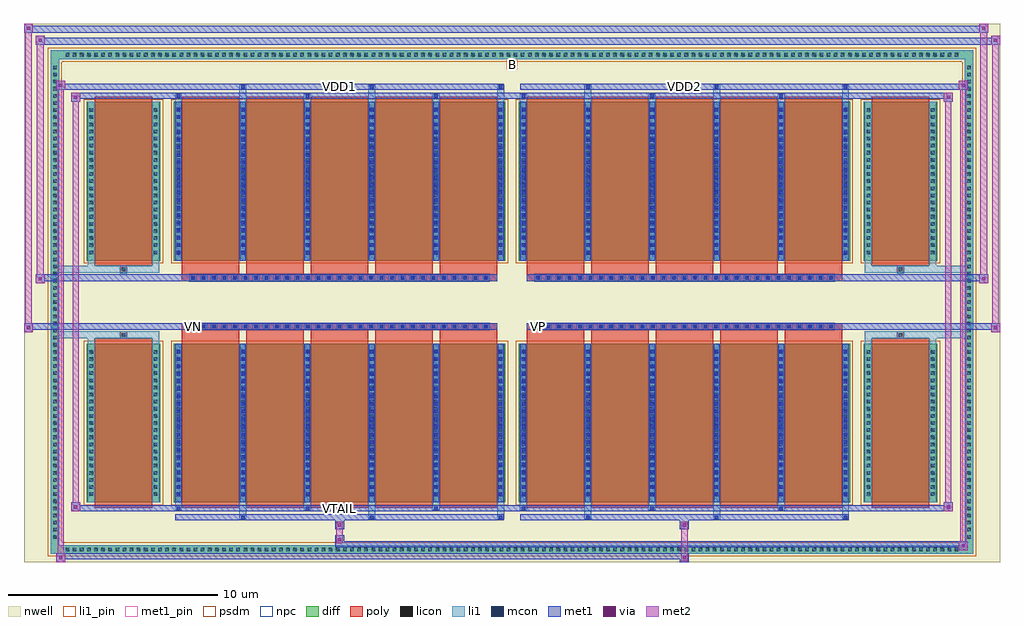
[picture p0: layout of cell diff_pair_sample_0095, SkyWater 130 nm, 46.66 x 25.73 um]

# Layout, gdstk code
import gdstk
lib = gdstk.Library(unit=1e-6, precision=5e-09)
def R(c, l, rs):  # rectangles x0, y0, x1, y1
    for r in rs: c.add(gdstk.rectangle(r[:2], r[2:], *l))
def A(c, l, x, y, w, h, nx, ny, dx, dy):  # array of equal rectangles
    R(c, l, [(x+i*dx, y+j*dy, x+i*dx+w, y+j*dy+h) for i in range(nx) for j in range(ny)])
def P(c, l, *ps):  # polygons
    for p in ps: c.add(gdstk.Polygon(p, *l))
nwell = (64, 20)
diff = (65, 20)
poly = (66, 20)
licon = (66, 44)
li1_pin = (67, 16)
li1 = (67, 20)
mcon = (67, 44)
met1_pin = (68, 16)
met1 = (68, 20)
via = (68, 44)
met2 = (69, 20)
psdm = (94, 20)
npc = (95, 20)

diff_pair_sample_0095 = lib.new_cell('diff_pair_sample_0095')
R(diff_pair_sample_0095, nwell, [(-23.33,-12.43,23.33,13.3), (-20.65,-10.62,-0.01,-0.8), (0.01,-10.62,20.65,-0.8), (-20.65,0.8,-0.01,10.62), (0.01,0.8,20.65,10.62)])
A(diff_pair_sample_0095, diff, -21.455, -12.03, 0.41, 0.41, 126, 2, 0.34, 23.65)
A(diff_pair_sample_0095, diff, -22.06, -11.425, 0.41, 0.41, 1, 67, 0, 0.34)
A(diff_pair_sample_0095, diff, 21.65, -11.425, 0.41, 0.41, 1, 67, 0, 0.34)
R(diff_pair_sample_0095, diff, [(-21.455,-12.03,21.455,-11.62), (-22.06,-11.425,-21.65,11.425), (21.65,-11.425,22.06,11.425), (-20.34,-9.575,-16.81,-1.985), (-16.17,-9.575,-0.32,-1.985), (0.32,-9.575,16.17,-1.985), (16.81,-9.575,20.34,-1.985), (-20.34,1.985,-16.81,9.575), (-16.17,1.985,-0.32,9.575), (0.32,1.985,16.17,9.575), (16.81,1.985,20.34,9.575), (-21.455,11.62,21.455,12.03)])
P(diff_pair_sample_0095, diff, [(22.06,12.03),(-22.06,12.03),(-22.06,-11.62),(-21.65,-11.62),(-21.65,11.62),(21.65,11.62),(21.65,-11.62),(-21.65,-11.62),(-22.06,-11.62),(-22.06,-12.03),(22.06,-12.03)])
A(diff_pair_sample_0095, poly, -15.78, -9.825, 2.75, 8.09, 5, 2, 3.08, 11.56)
A(diff_pair_sample_0095, poly, 0.71, -9.825, 2.75, 8.09, 5, 2, 3.08, 11.56)
A(diff_pair_sample_0095, poly, -15.78, -1.735, 2.75, 0.405, 5, 2, 3.08, 3.065)
A(diff_pair_sample_0095, poly, 0.71, -1.735, 2.75, 0.405, 5, 2, 3.08, 3.065)
A(diff_pair_sample_0095, poly, -15.41, -1.33, 0.33, 0.33, 29, 2, 0.5, 2.33)
A(diff_pair_sample_0095, poly, 1.08, -1.33, 0.33, 0.33, 29, 2, 0.5, 2.33)
R(diff_pair_sample_0095, poly, [(-19.95,-9.825,-17.2,-1.735), (17.2,-9.825,19.95,-1.735), (-18.74,-1.735,-18.41,-1.405), (-18.74,-1.735,-18.41,-1.405), (18.41,-1.735,18.74,-1.405), (18.41,-1.735,18.74,-1.405), (-15.78,-1.33,-0.71,-1), (0.71,-1.33,15.78,-1), (-15.78,1,-0.71,1.33), (0.71,1,15.78,1.33), (-18.74,1.405,-18.41,1.735), (-18.74,1.405,-18.41,1.735), (18.41,1.405,18.74,1.735), (18.41,1.405,18.74,1.735), (-19.95,1.735,-17.2,9.825), (17.2,1.735,19.95,9.825)])
A(diff_pair_sample_0095, licon, -21.335, -11.91, 0.17, 0.17, 126, 2, 0.34, 23.65)
A(diff_pair_sample_0095, licon, -21.94, -11.305, 0.17, 0.17, 1, 67, 0, 0.34)
A(diff_pair_sample_0095, licon, 21.77, -11.305, 0.17, 0.17, 1, 67, 0, 0.34)
A(diff_pair_sample_0095, licon, -20.2, -9.265, 0.17, 0.17, 1, 21, 0, 0.34)
A(diff_pair_sample_0095, licon, -17.12, -9.265, 0.17, 0.17, 1, 21, 0, 0.34)
A(diff_pair_sample_0095, licon, -16.03, -9.265, 0.17, 0.17, 6, 21, 3.08, 0.34)
A(diff_pair_sample_0095, licon, 0.46, -9.265, 0.17, 0.17, 6, 21, 3.08, 0.34)
A(diff_pair_sample_0095, licon, 16.95, -9.265, 0.17, 0.17, 1, 21, 0, 0.34)
A(diff_pair_sample_0095, licon, 20.03, -9.265, 0.17, 0.17, 1, 21, 0, 0.34)
A(diff_pair_sample_0095, licon, -15.33, -1.25, 0.17, 0.17, 29, 2, 0.5, 2.33)
A(diff_pair_sample_0095, licon, 1.16, -1.25, 0.17, 0.17, 29, 2, 0.5, 2.33)
A(diff_pair_sample_0095, licon, -20.2, 2.295, 0.17, 0.17, 1, 21, 0, 0.34)
A(diff_pair_sample_0095, licon, -17.12, 2.295, 0.17, 0.17, 1, 21, 0, 0.34)
A(diff_pair_sample_0095, licon, -16.03, 2.295, 0.17, 0.17, 6, 21, 3.08, 0.34)
A(diff_pair_sample_0095, licon, 0.46, 2.295, 0.17, 0.17, 6, 21, 3.08, 0.34)
A(diff_pair_sample_0095, licon, 16.95, 2.295, 0.17, 0.17, 1, 21, 0, 0.34)
A(diff_pair_sample_0095, licon, 20.03, 2.295, 0.17, 0.17, 1, 21, 0, 0.34)
R(diff_pair_sample_0095, licon, [(-18.66,-1.655,-18.49,-1.485), (18.49,-1.655,18.66,-1.485), (-18.66,1.485,-18.49,1.655), (18.49,1.485,18.66,1.655)])
R(diff_pair_sample_0095, li1_pin, [(-0.25,11.12,0.25,11.62)])
A(diff_pair_sample_0095, li1, -21.415, -11.99, 0.33, 0.33, 126, 2, 0.34, 23.65)
A(diff_pair_sample_0095, li1, -22.02, -11.385, 0.33, 0.33, 1, 67, 0, 0.34)
A(diff_pair_sample_0095, li1, 21.69, -11.385, 0.33, 0.33, 1, 67, 0, 0.34)
A(diff_pair_sample_0095, li1, -13.03, -10.38, 0.33, 0.805, 3, 2, 6.16, 19.955)
A(diff_pair_sample_0095, li1, -12.95, -10.38, 0.17, 0.17, 3, 2, 6.16, 20.59)
A(diff_pair_sample_0095, li1, 3.46, -10.38, 0.33, 0.805, 3, 2, 6.16, 19.955)
A(diff_pair_sample_0095, li1, 3.54, -10.38, 0.17, 0.17, 3, 2, 6.16, 20.59)
A(diff_pair_sample_0095, li1, -16.11, -9.95, 0.33, 0.375, 3, 2, 6.16, 19.525)
A(diff_pair_sample_0095, li1, -16.03, -9.95, 0.17, 0.17, 3, 2, 6.16, 19.73)
A(diff_pair_sample_0095, li1, 0.38, -9.95, 0.33, 0.375, 3, 2, 6.16, 19.525)
A(diff_pair_sample_0095, li1, 0.46, -9.95, 0.17, 0.17, 3, 2, 6.16, 19.73)
A(diff_pair_sample_0095, li1, -16.11, -9.575, 0.33, 7.59, 6, 2, 3.08, 11.56)
A(diff_pair_sample_0095, li1, 0.38, -9.575, 0.33, 7.59, 6, 2, 3.08, 11.56)
A(diff_pair_sample_0095, li1, -20.28, -9.345, 0.33, 0.33, 1, 21, 0, 0.34)
A(diff_pair_sample_0095, li1, -17.2, -9.345, 0.33, 0.33, 1, 21, 0, 0.34)
A(diff_pair_sample_0095, li1, -16.11, -9.345, 0.33, 0.33, 6, 21, 3.08, 0.34)
A(diff_pair_sample_0095, li1, 0.38, -9.345, 0.33, 0.33, 6, 21, 3.08, 0.34)
A(diff_pair_sample_0095, li1, 16.87, -9.345, 0.33, 0.33, 1, 21, 0, 0.34)
A(diff_pair_sample_0095, li1, 19.95, -9.345, 0.33, 0.33, 1, 21, 0, 0.34)
A(diff_pair_sample_0095, li1, -16.03, -9.285, 0.17, 0.17, 6, 20, 3.08, 0.36)
A(diff_pair_sample_0095, li1, -16.03, -9.285, 0.17, 7.01, 6, 2, 3.08, 11.56)
A(diff_pair_sample_0095, li1, 0.46, -9.285, 0.17, 0.17, 6, 20, 3.08, 0.36)
A(diff_pair_sample_0095, li1, 0.46, -9.285, 0.17, 7.01, 6, 2, 3.08, 11.56)
A(diff_pair_sample_0095, li1, -15.41, -1.33, 0.33, 0.33, 29, 2, 0.5, 2.33)
A(diff_pair_sample_0095, li1, 1.08, -1.33, 0.33, 0.33, 29, 2, 0.5, 2.33)
A(diff_pair_sample_0095, li1, -20.28, 2.215, 0.33, 0.33, 1, 21, 0, 0.34)
A(diff_pair_sample_0095, li1, -17.2, 2.215, 0.33, 0.33, 1, 21, 0, 0.34)
A(diff_pair_sample_0095, li1, -16.11, 2.215, 0.33, 0.33, 6, 21, 3.08, 0.34)
A(diff_pair_sample_0095, li1, 0.38, 2.215, 0.33, 0.33, 6, 21, 3.08, 0.34)
A(diff_pair_sample_0095, li1, 16.87, 2.215, 0.33, 0.33, 1, 21, 0, 0.34)
A(diff_pair_sample_0095, li1, 19.95, 2.215, 0.33, 0.33, 1, 21, 0, 0.34)
A(diff_pair_sample_0095, li1, -16.03, 2.275, 0.17, 0.17, 6, 20, 3.08, 0.36)
A(diff_pair_sample_0095, li1, 0.46, 2.275, 0.17, 0.17, 6, 20, 3.08, 0.36)
R(diff_pair_sample_0095, li1, [(-22.06,-12.03,-21.65,-11.62), (-22.06,-12.03,-21.65,-11.62), (-21.65,-12.03,21.65,-11.62), (21.65,-12.03,22.06,-11.62), (21.65,-12.03,22.06,-11.62), (-22.06,-11.62,-21.65,11.62), (21.65,-11.62,22.06,11.62), (-20.28,-9.575,-19.95,-1.985), (-17.2,-9.575,-16.87,-1.985), (16.87,-9.575,17.2,-1.985), (19.95,-9.575,20.28,-1.985), (-20.28,-1.985,-19.95,-1.405), (-17.2,-1.985,-16.87,-1.405), (16.87,-1.985,17.2,-1.405), (19.95,-1.985,20.28,-1.405), (-22.06,-1.735,-18.74,-1.405), (-20.28,-1.735,-18.74,-1.405), (-18.74,-1.735,-18.41,-1.405), (-18.41,-1.735,-16.87,-1.405), (16.87,-1.735,18.41,-1.405), (18.41,-1.735,18.74,-1.405), (18.41,-1.735,22.06,-1.405), (18.74,-1.735,20.28,-1.405), (-22.06,1.405,-18.74,1.735), (-20.28,1.405,-18.74,1.735), (-20.28,1.405,-19.95,1.985), (-18.74,1.405,-18.41,1.735), (-18.41,1.405,-16.87,1.735), (-17.2,1.405,-16.87,1.985), (16.87,1.405,18.41,1.735), (16.87,1.405,17.2,1.985), (18.41,1.405,18.74,1.735), (18.41,1.405,22.06,1.735), (18.74,1.405,20.28,1.735), (19.95,1.405,20.28,1.985), (-20.28,1.985,-19.95,9.575), (-17.2,1.985,-16.87,9.575), (16.87,1.985,17.2,9.575), (19.95,1.985,20.28,9.575), (-22.06,11.62,-21.65,12.03), (-22.06,11.62,-21.65,12.03), (-21.65,11.62,21.65,12.03), (21.65,11.62,22.06,12.03), (21.65,11.62,22.06,12.03)])
A(diff_pair_sample_0095, mcon, -12.95, -10.38, 0.17, 0.17, 3, 2, 6.16, 20.59)
A(diff_pair_sample_0095, mcon, 3.54, -10.38, 0.17, 0.17, 3, 2, 6.16, 20.59)
A(diff_pair_sample_0095, mcon, -16.03, -9.95, 0.17, 0.17, 3, 2, 6.16, 19.73)
A(diff_pair_sample_0095, mcon, 0.46, -9.95, 0.17, 0.17, 3, 2, 6.16, 19.73)
A(diff_pair_sample_0095, mcon, -16.03, -9.285, 0.17, 0.17, 6, 20, 3.08, 0.36)
A(diff_pair_sample_0095, mcon, 0.46, -9.285, 0.17, 0.17, 6, 20, 3.08, 0.36)
A(diff_pair_sample_0095, mcon, -15.33, -1.25, 0.17, 0.17, 29, 2, 0.5, 2.33)
A(diff_pair_sample_0095, mcon, 1.16, -1.25, 0.17, 0.17, 29, 2, 0.5, 2.33)
A(diff_pair_sample_0095, mcon, -16.03, 2.275, 0.17, 0.17, 6, 20, 3.08, 0.36)
A(diff_pair_sample_0095, mcon, 0.46, 2.275, 0.17, 0.17, 6, 20, 3.08, 0.36)
R(diff_pair_sample_0095, met1_pin, [(-8.38,-9.99,-8.11,-9.72), (-15.38,-1.29,-15.11,-1.02), (1.11,-1.29,1.38,-1.02), (-8.38,10.17,-8.11,10.44), (8.11,10.17,8.38,10.44)])
A(diff_pair_sample_0095, met1, -13.01, -10.44, 0.29, 0.29, 3, 2, 6.16, 20.59)
A(diff_pair_sample_0095, met1, 3.48, -10.44, 0.29, 0.29, 3, 2, 6.16, 20.59)
A(diff_pair_sample_0095, met1, -16.09, -10.01, 0.29, 0.29, 3, 2, 6.16, 19.73)
A(diff_pair_sample_0095, met1, 0.4, -10.01, 0.29, 0.29, 3, 2, 6.16, 19.73)
A(diff_pair_sample_0095, met1, -16.09, -9.575, 0.29, 7.59, 6, 2, 3.08, 11.56)
A(diff_pair_sample_0095, met1, 0.4, -9.575, 0.29, 7.59, 6, 2, 3.08, 11.56)
A(diff_pair_sample_0095, met1, -16.09, -9.345, 0.29, 0.29, 6, 20, 3.08, 0.36)
A(diff_pair_sample_0095, met1, 0.4, -9.345, 0.29, 0.29, 6, 20, 3.08, 0.36)
A(diff_pair_sample_0095, met1, -15.39, -1.31, 0.29, 0.29, 29, 2, 0.5, 2.33)
A(diff_pair_sample_0095, met1, 1.1, -1.31, 0.29, 0.29, 29, 2, 0.5, 2.33)
A(diff_pair_sample_0095, met1, -16.09, 2.215, 0.29, 0.29, 6, 20, 3.08, 0.36)
A(diff_pair_sample_0095, met1, 0.4, 2.215, 0.29, 0.29, 6, 20, 3.08, 0.36)
R(diff_pair_sample_0095, met1, [(-21.79,-12.43,-21.36,-12), (8.03,-12.43,8.46,-12), (-21.79,-12.29,8.46,-12), (21.36,-11.86,21.79,-11.43), (-8.46,-11.72,21.79,-11.43), (-8.46,-11.58,-8.03,-11.15), (-8.46,-10.87,-8.03,-10.44), (8.03,-10.87,8.46,-10.44), (-16.09,-10.44,-0.4,-10.15), (0.4,-10.44,16.09,-10.15), (-21.08,-10.01,-20.65,-9.58), (-21.08,-10.01,-16.09,-9.72), (-16.09,-10.01,-0.4,-9.72), (-0.4,-10.01,0.4,-9.72), (0.4,-10.01,16.09,-9.72), (16.09,-10.01,21.08,-9.72), (20.65,-10.01,21.08,-9.58), (-23.33,-1.43,-22.9,-1), (22.9,-1.43,23.33,-1), (-23.33,-1.33,-0.71,-1), (-15.78,-1.33,-0.71,-1), (0.71,-1.33,15.78,-1), (0.71,-1.33,23.33,-1), (-22.76,0.9,-22.33,1.33), (22.33,0.9,22.76,1.33), (-22.76,1,-15.78,1.33), (-15.78,1,-0.71,1.33), (0.71,1,15.78,1.33), (15.78,1,22.76,1.33), (-21.08,9.58,-20.65,10.01), (20.65,9.58,21.08,10.01), (-21.08,9.72,-16.09,10.01), (-16.09,9.72,-0.4,10.01), (-0.4,9.72,0.4,10.01), (0.4,9.72,16.09,10.01), (16.09,9.72,21.08,10.01), (-21.79,10.15,-21.36,10.58), (-21.79,10.15,-16.09,10.44), (-16.09,10.15,-0.4,10.44), (0.4,10.15,16.09,10.44), (16.09,10.15,21.79,10.44), (21.36,10.15,21.79,10.58), (-22.76,12.3,-22.33,12.73), (-22.76,12.3,-20.65,12.63), (-20.65,12.3,20.65,12.63), (20.65,12.3,23.33,12.63), (22.9,12.3,23.33,12.73), (-23.33,12.87,-22.9,13.3), (-23.33,12.87,-20.65,13.2), (-20.65,12.87,20.65,13.2), (20.65,12.87,22.76,13.2), (22.33,12.87,22.76,13.3)])
R(diff_pair_sample_0095, via, [(-21.65,-12.29,-21.5,-12.14), (8.17,-12.29,8.32,-12.14), (21.5,-11.72,21.65,-11.57), (-8.32,-11.44,-8.17,-11.29), (-8.32,-10.73,-8.17,-10.58), (8.17,-10.73,8.32,-10.58), (-20.94,-9.87,-20.79,-9.72), (20.79,-9.87,20.94,-9.72), (-23.19,-1.29,-23.04,-1.14), (23.04,-1.29,23.19,-1.14), (-22.62,1.04,-22.47,1.19), (22.47,1.04,22.62,1.19), (-20.94,9.72,-20.79,9.87), (20.79,9.72,20.94,9.87), (-21.65,10.29,-21.5,10.44), (21.5,10.29,21.65,10.44), (-22.62,12.44,-22.47,12.59), (23.04,12.44,23.19,12.59), (-23.19,13.01,-23.04,13.16), (22.47,13.01,22.62,13.16)])
R(diff_pair_sample_0095, met2, [(-21.79,-12.43,-21.36,-12), (-21.72,-12.43,-21.43,10.58), (-21.43,-12.43,-21.36,-12), (-21.74,-12.38,-21.41,-12.05), (8.08,-12.38,8.41,-12.05), (8.08,-12.05,8.41,-10.82), (21.36,-11.86,21.79,-11.43), (21.43,-11.86,21.72,10.58), (21.72,-11.86,21.79,-11.43), (21.41,-11.81,21.74,-11.48), (-8.41,-11.53,-8.08,-11.2), (-8.41,-11.2,-8.08,-10.82), (-8.41,-10.82,-8.08,-10.49), (8.08,-10.82,8.41,-10.49), (-21.08,-10.01,-20.65,-9.58), (-21.01,-10.01,-20.72,10.01), (-20.72,-10.01,-20.65,-9.58), (20.65,-10.01,21.08,-9.58), (20.72,-10.01,21.01,10.01), (21.01,-10.01,21.08,-9.58), (-21.03,-9.96,-20.7,-9.63), (20.7,-9.96,21.03,-9.63), (-23.33,-1.43,-22.9,-1), (-23.28,-1.43,-22.95,13.3), (-22.95,-1.43,-22.9,-1), (22.9,-1.43,23.33,-1), (22.95,-1.43,23.28,12.73), (23.28,-1.43,23.33,-1), (-23.28,-1.38,-22.95,-1.05), (22.95,-1.38,23.28,-1.05), (-22.76,0.9,-22.33,1.33), (-22.71,0.9,-22.38,12.73), (-22.38,0.9,-22.33,1.33), (22.33,0.9,22.76,1.33), (22.38,0.9,22.71,13.3), (22.71,0.9,22.76,1.33), (-22.71,0.95,-22.38,1.28), (22.38,0.95,22.71,1.28), (-21.08,9.58,-20.65,10.01), (-20.72,9.58,-20.65,10.01), (20.65,9.58,21.08,10.01), (21.01,9.58,21.08,10.01), (-21.03,9.63,-20.7,9.96), (20.7,9.63,21.03,9.96), (-21.79,10.15,-21.36,10.58), (-21.43,10.15,-21.36,10.58), (21.36,10.15,21.79,10.58), (21.72,10.15,21.79,10.58), (-21.74,10.2,-21.41,10.53), (21.41,10.2,21.74,10.53), (-22.76,12.3,-22.33,12.73), (-22.38,12.3,-22.33,12.73), (22.9,12.3,23.33,12.73), (23.28,12.3,23.33,12.73), (-22.71,12.35,-22.38,12.68), (22.95,12.35,23.28,12.68), (-23.33,12.87,-22.9,13.3), (-22.95,12.87,-22.9,13.3), (22.33,12.87,22.76,13.3), (22.71,12.87,22.76,13.3), (-23.28,12.92,-22.95,13.25), (22.38,12.92,22.71,13.25)])
R(diff_pair_sample_0095, psdm, [(-20.47,-9.705,-16.68,-1.855), (-16.3,-9.705,-0.19,-1.855), (0.19,-9.705,16.3,-1.855), (16.68,-9.705,20.47,-1.855), (-20.47,1.855,-16.68,9.705), (-16.3,1.855,-0.19,9.705), (0.19,1.855,16.3,9.705), (16.68,1.855,20.47,9.705)])
P(diff_pair_sample_0095, psdm, [(22.19,12.16),(-22.19,12.16),(-22.19,-11.49),(-21.52,-11.49),(-21.52,11.49),(21.52,11.49),(21.52,-11.49),(-21.52,-11.49),(-22.19,-11.49),(-22.19,-12.16),(22.19,-12.16)])
A(diff_pair_sample_0095, npc, -15.43, -1.35, 0.37, 0.37, 29, 2, 0.5, 2.33)
A(diff_pair_sample_0095, npc, 1.06, -1.35, 0.37, 0.37, 29, 2, 0.5, 2.33)
R(diff_pair_sample_0095, npc, [(-18.76,-1.755,-18.39,-1.385), (18.39,-1.755,18.76,-1.385), (-15.43,-1.35,-14.56,-0.98), (-15.43,-1.35,-14.56,-0.98), (-14.93,-1.35,-14.06,-0.98), (-14.93,-1.35,-14.06,-0.98), (-14.43,-1.35,-13.56,-0.98), (-14.43,-1.35,-13.56,-0.98), (-13.93,-1.35,-13.06,-0.98), (-13.93,-1.35,-13.06,-0.98), (-13.43,-1.35,-12.56,-0.98), (-13.43,-1.35,-12.56,-0.98), (-12.93,-1.35,-12.06,-0.98), (-12.93,-1.35,-12.06,-0.98), (-12.43,-1.35,-11.56,-0.98), (-12.43,-1.35,-11.56,-0.98), (-11.93,-1.35,-11.06,-0.98), (-11.93,-1.35,-11.06,-0.98), (-11.43,-1.35,-10.56,-0.98), (-11.43,-1.35,-10.56,-0.98), (-10.93,-1.35,-10.06,-0.98), (-10.93,-1.35,-10.06,-0.98), (-10.43,-1.35,-9.56,-0.98), (-10.43,-1.35,-9.56,-0.98), (-9.93,-1.35,-9.06,-0.98), (-9.93,-1.35,-9.06,-0.98), (-9.43,-1.35,-8.56,-0.98), (-9.43,-1.35,-8.56,-0.98), (-8.93,-1.35,-8.06,-0.98), (-8.93,-1.35,-8.06,-0.98), (-8.43,-1.35,-7.56,-0.98), (-8.43,-1.35,-7.56,-0.98), (-7.93,-1.35,-7.06,-0.98), (-7.93,-1.35,-7.06,-0.98), (-7.43,-1.35,-6.56,-0.98), (-7.43,-1.35,-6.56,-0.98), (-6.93,-1.35,-6.06,-0.98), (-6.93,-1.35,-6.06,-0.98), (-6.43,-1.35,-5.56,-0.98), (-6.43,-1.35,-5.56,-0.98), (-5.93,-1.35,-5.06,-0.98), (-5.93,-1.35,-5.06,-0.98), (-5.43,-1.35,-4.56,-0.98), (-5.43,-1.35,-4.56,-0.98), (-4.93,-1.35,-4.06,-0.98), (-4.93,-1.35,-4.06,-0.98), (-4.43,-1.35,-3.56,-0.98), (-4.43,-1.35,-3.56,-0.98), (-3.93,-1.35,-3.06,-0.98), (-3.93,-1.35,-3.06,-0.98), (-3.43,-1.35,-2.56,-0.98), (-3.43,-1.35,-2.56,-0.98), (-2.93,-1.35,-2.06,-0.98), (-2.93,-1.35,-2.06,-0.98), (-2.43,-1.35,-1.56,-0.98), (-2.43,-1.35,-1.56,-0.98), (-1.93,-1.35,-1.06,-0.98), (-1.93,-1.35,-1.06,-0.98), (1.06,-1.35,1.93,-0.98), (1.06,-1.35,1.93,-0.98), (1.56,-1.35,2.43,-0.98), (1.56,-1.35,2.43,-0.98), (2.06,-1.35,2.93,-0.98), (2.06,-1.35,2.93,-0.98), (2.56,-1.35,3.43,-0.98), (2.56,-1.35,3.43,-0.98), (3.06,-1.35,3.93,-0.98), (3.06,-1.35,3.93,-0.98), (3.56,-1.35,4.43,-0.98), (3.56,-1.35,4.43,-0.98), (4.06,-1.35,4.93,-0.98), (4.06,-1.35,4.93,-0.98), (4.56,-1.35,5.43,-0.98), (4.56,-1.35,5.43,-0.98), (5.06,-1.35,5.93,-0.98), (5.06,-1.35,5.93,-0.98), (5.56,-1.35,6.43,-0.98), (5.56,-1.35,6.43,-0.98), (6.06,-1.35,6.93,-0.98), (6.06,-1.35,6.93,-0.98), (6.56,-1.35,7.43,-0.98), (6.56,-1.35,7.43,-0.98), (7.06,-1.35,7.93,-0.98), (7.06,-1.35,7.93,-0.98), (7.56,-1.35,8.43,-0.98), (7.56,-1.35,8.43,-0.98), (8.06,-1.35,8.93,-0.98), (8.06,-1.35,8.93,-0.98), (8.56,-1.35,9.43,-0.98), (8.56,-1.35,9.43,-0.98), (9.06,-1.35,9.93,-0.98), (9.06,-1.35,9.93,-0.98), (9.56,-1.35,10.43,-0.98), (9.56,-1.35,10.43,-0.98), (10.06,-1.35,10.93,-0.98), (10.06,-1.35,10.93,-0.98), (10.56,-1.35,11.43,-0.98), (10.56,-1.35,11.43,-0.98), (11.06,-1.35,11.93,-0.98), (11.06,-1.35,11.93,-0.98), (11.56,-1.35,12.43,-0.98), (11.56,-1.35,12.43,-0.98), (12.06,-1.35,12.93,-0.98), (12.06,-1.35,12.93,-0.98), (12.56,-1.35,13.43,-0.98), (12.56,-1.35,13.43,-0.98), (13.06,-1.35,13.93,-0.98), (13.06,-1.35,13.93,-0.98), (13.56,-1.35,14.43,-0.98), (13.56,-1.35,14.43,-0.98), (14.06,-1.35,14.93,-0.98), (14.06,-1.35,14.93,-0.98), (14.56,-1.35,15.43,-0.98), (14.56,-1.35,15.43,-0.98), (-15.43,0.98,-14.56,1.35), (-15.43,0.98,-14.56,1.35), (-14.93,0.98,-14.06,1.35), (-14.93,0.98,-14.06,1.35), (-14.43,0.98,-13.56,1.35), (-14.43,0.98,-13.56,1.35), (-13.93,0.98,-13.06,1.35), (-13.93,0.98,-13.06,1.35), (-13.43,0.98,-12.56,1.35), (-13.43,0.98,-12.56,1.35), (-12.93,0.98,-12.06,1.35), (-12.93,0.98,-12.06,1.35), (-12.43,0.98,-11.56,1.35), (-12.43,0.98,-11.56,1.35), (-11.93,0.98,-11.06,1.35), (-11.93,0.98,-11.06,1.35), (-11.43,0.98,-10.56,1.35), (-11.43,0.98,-10.56,1.35), (-10.93,0.98,-10.06,1.35), (-10.93,0.98,-10.06,1.35), (-10.43,0.98,-9.56,1.35), (-10.43,0.98,-9.56,1.35), (-9.93,0.98,-9.06,1.35), (-9.93,0.98,-9.06,1.35), (-9.43,0.98,-8.56,1.35), (-9.43,0.98,-8.56,1.35), (-8.93,0.98,-8.06,1.35), (-8.93,0.98,-8.06,1.35), (-8.43,0.98,-7.56,1.35), (-8.43,0.98,-7.56,1.35), (-7.93,0.98,-7.06,1.35), (-7.93,0.98,-7.06,1.35), (-7.43,0.98,-6.56,1.35), (-7.43,0.98,-6.56,1.35), (-6.93,0.98,-6.06,1.35), (-6.93,0.98,-6.06,1.35), (-6.43,0.98,-5.56,1.35), (-6.43,0.98,-5.56,1.35), (-5.93,0.98,-5.06,1.35), (-5.93,0.98,-5.06,1.35), (-5.43,0.98,-4.56,1.35), (-5.43,0.98,-4.56,1.35), (-4.93,0.98,-4.06,1.35), (-4.93,0.98,-4.06,1.35), (-4.43,0.98,-3.56,1.35), (-4.43,0.98,-3.56,1.35), (-3.93,0.98,-3.06,1.35), (-3.93,0.98,-3.06,1.35), (-3.43,0.98,-2.56,1.35), (-3.43,0.98,-2.56,1.35), (-2.93,0.98,-2.06,1.35), (-2.93,0.98,-2.06,1.35), (-2.43,0.98,-1.56,1.35), (-2.43,0.98,-1.56,1.35), (-1.93,0.98,-1.06,1.35), (-1.93,0.98,-1.06,1.35), (1.06,0.98,1.93,1.35), (1.06,0.98,1.93,1.35), (1.56,0.98,2.43,1.35), (1.56,0.98,2.43,1.35), (2.06,0.98,2.93,1.35), (2.06,0.98,2.93,1.35), (2.56,0.98,3.43,1.35), (2.56,0.98,3.43,1.35), (3.06,0.98,3.93,1.35), (3.06,0.98,3.93,1.35), (3.56,0.98,4.43,1.35), (3.56,0.98,4.43,1.35), (4.06,0.98,4.93,1.35), (4.06,0.98,4.93,1.35), (4.56,0.98,5.43,1.35), (4.56,0.98,5.43,1.35), (5.06,0.98,5.93,1.35), (5.06,0.98,5.93,1.35), (5.56,0.98,6.43,1.35), (5.56,0.98,6.43,1.35), (6.06,0.98,6.93,1.35), (6.06,0.98,6.93,1.35), (6.56,0.98,7.43,1.35), (6.56,0.98,7.43,1.35), (7.06,0.98,7.93,1.35), (7.06,0.98,7.93,1.35), (7.56,0.98,8.43,1.35), (7.56,0.98,8.43,1.35), (8.06,0.98,8.93,1.35), (8.06,0.98,8.93,1.35), (8.56,0.98,9.43,1.35), (8.56,0.98,9.43,1.35), (9.06,0.98,9.93,1.35), (9.06,0.98,9.93,1.35), (9.56,0.98,10.43,1.35), (9.56,0.98,10.43,1.35), (10.06,0.98,10.93,1.35), (10.06,0.98,10.93,1.35), (10.56,0.98,11.43,1.35), (10.56,0.98,11.43,1.35), (11.06,0.98,11.93,1.35), (11.06,0.98,11.93,1.35), (11.56,0.98,12.43,1.35), (11.56,0.98,12.43,1.35), (12.06,0.98,12.93,1.35), (12.06,0.98,12.93,1.35), (12.56,0.98,13.43,1.35), (12.56,0.98,13.43,1.35), (13.06,0.98,13.93,1.35), (13.06,0.98,13.93,1.35), (13.56,0.98,14.43,1.35), (13.56,0.98,14.43,1.35), (14.06,0.98,14.93,1.35), (14.06,0.98,14.93,1.35), (14.56,0.98,15.43,1.35), (14.56,0.98,15.43,1.35), (-18.76,1.385,-18.39,1.755), (18.39,1.385,18.76,1.755)])
diff_pair_sample_0095.add(gdstk.Label('VTAIL', (-8.245,-9.855), layer=68, texttype=5))
diff_pair_sample_0095.add(gdstk.Label('VN', (-15.245,-1.155), layer=68, texttype=5))
diff_pair_sample_0095.add(gdstk.Label('VP', (1.245,-1.155), layer=68, texttype=5))
diff_pair_sample_0095.add(gdstk.Label('B', (0,11.37), layer=67, texttype=5))
diff_pair_sample_0095.add(gdstk.Label('VDD2', (8.245,10.305), layer=68, texttype=5))
diff_pair_sample_0095.add(gdstk.Label('VDD1', (-8.245,10.305), layer=68, texttype=5))

lib.write_gds('diff_pair_sample_0095.gds')
